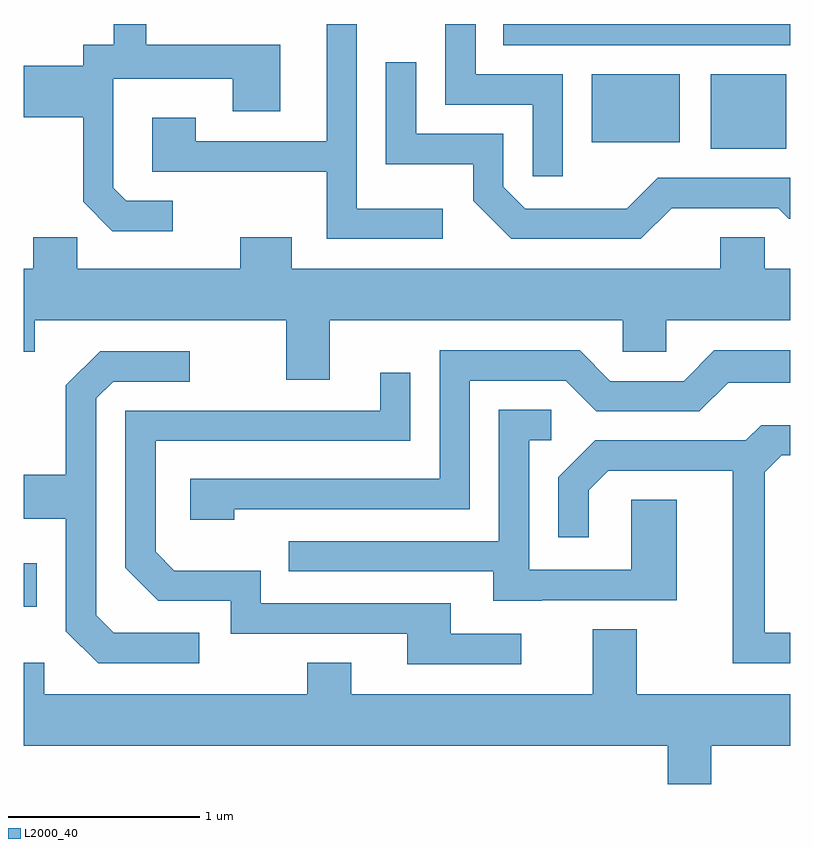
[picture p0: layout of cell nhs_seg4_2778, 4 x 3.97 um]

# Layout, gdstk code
import gdstk
lib = gdstk.Library(unit=1e-6, precision=1e-09)
def R(c, l, rs):  # rectangles x0, y0, x1, y1
    for r in rs: c.add(gdstk.rectangle(r[:2], r[2:], *l))
def P(c, l, *ps):  # polygons
    for p in ps: c.add(gdstk.Polygon(p, *l))
L2000_40 = (2000, 40)

nhs_seg4_2778 = lib.new_cell('nhs_seg4_2778')
R(nhs_seg4_2778, L2000_40, [(265.611,1370.941,265.679,1371.169), (269.196,1373.331,269.589,1373.719), (268.576,1373.366,269.034,1373.719), (268.113,1373.871,269.611,1373.982)])
P(nhs_seg4_2778, L2000_40, [(268.424,1373.719),(267.969,1373.719),(267.969,1373.982),(267.811,1373.982),(267.811,1373.561),(268.266,1373.561),(268.266,1373.188),(268.424,1373.188)],
  [(267.798,1373.019),(267.349,1373.019),(267.349,1373.982),(267.191,1373.982),(267.191,1373.369),(266.509,1373.369),(266.509,1373.494),(266.281,1373.494),(266.281,1373.211),(267.191,1373.211),(267.191,1372.861),(267.798,1372.861)],
  [(266.388,1373.059),(266.147,1373.059),(266.079,1373.127),(266.079,1373.696),(266.701,1373.696),(266.701,1373.526),(266.949,1373.526),(266.949,1373.874),(266.249,1373.874),(266.249,1373.982),(266.081,1373.982),(266.081,1373.874),(265.921,1373.874),(265.921,1373.764),(265.611,1373.764),(265.611,1373.496),(265.921,1373.496),(265.921,1373.054),(266.074,1372.901),(266.388,1372.901)],
  [(268.992,1373.021),(269.549,1373.021),(269.604,1372.966),(269.611,1372.966),(269.611,1373.179),(268.919,1373.179),(268.759,1373.019),(268.227,1373.019),(268.114,1373.132),(268.114,1373.409),(267.659,1373.409),(267.659,1373.783),(267.501,1373.783),(267.501,1373.251),(267.956,1373.251),(267.956,1373.059),(268.154,1372.861),(268.832,1372.861)],
  [(267.209,1372.436),(268.736,1372.436),(268.736,1372.271),(268.964,1372.271),(268.964,1372.436),(269.611,1372.436),(269.611,1372.704),(269.479,1372.704),(269.479,1372.869),(269.246,1372.869),(269.246,1372.704),(267.009,1372.704),(267.009,1372.869),(266.741,1372.869),(266.741,1372.704),(265.889,1372.704),(265.889,1372.869),(265.661,1372.869),(265.661,1372.704),(265.611,1372.704),(265.611,1372.271),(265.669,1372.271),(265.669,1372.436),(266.981,1372.436),(266.981,1372.126),(267.209,1372.126)],
  [(266.709,1371.451),(267.939,1371.451),(267.939,1372.121),(268.439,1372.121),(268.599,1371.961),(269.137,1371.961),(269.287,1372.111),(269.611,1372.111),(269.611,1372.279),(269.214,1372.279),(269.054,1372.119),(268.672,1372.119),(268.512,1372.279),(267.781,1372.279),(267.781,1371.609),(266.481,1371.609),(266.481,1371.396),(266.709,1371.396)],
  [(266.528,1370.804),(266.082,1370.804),(265.989,1370.897),(265.989,1372.029),(266.077,1372.116),(266.478,1372.116),(266.478,1372.274),(266.009,1372.274),(265.831,1372.097),(265.831,1371.629),(265.611,1371.629),(265.611,1371.401),(265.831,1371.401),(265.831,1370.814),(265.999,1370.646),(266.528,1370.646)],
  [(268.208,1370.799),(267.839,1370.799),(267.839,1370.959),(266.849,1370.959),(266.849,1371.129),(266.397,1371.129),(266.299,1371.227),(266.299,1371.806),(267.629,1371.806),(267.629,1372.163),(267.471,1372.163),(267.471,1371.964),(266.141,1371.964),(266.141,1371.144),(266.314,1370.971),(266.691,1370.971),(266.691,1370.801),(267.611,1370.801),(267.611,1370.641),(268.208,1370.641)],
  [(268.315,1370.976),(269.019,1370.976),(269.019,1371.499),(268.781,1371.499),(268.781,1371.134),(268.249,1371.134),(268.249,1371.811),(268.363,1371.811),(268.363,1371.969),(268.091,1371.969),(268.091,1371.284),(266.993,1371.284),(266.993,1371.126),(268.061,1371.126),(268.061,1370.971),(268.315,1370.971)],
  [(269.611,1370.804),(269.479,1370.804),(269.479,1371.644),(269.567,1371.731),(269.611,1371.731),(269.611,1371.889),(269.459,1371.889),(269.379,1371.809),(268.594,1371.809),(268.401,1371.617),(268.401,1371.303),(268.559,1371.303),(268.559,1371.549),(268.662,1371.651),(269.311,1371.651),(269.311,1370.646),(269.611,1370.646)],
  [(269.199,1370.216),(269.611,1370.216),(269.611,1370.484),(268.809,1370.484),(268.809,1370.824),(268.581,1370.824),(268.581,1370.484),(267.319,1370.484),(267.319,1370.649),(267.091,1370.649),(267.091,1370.484),(265.719,1370.484),(265.719,1370.649),(265.611,1370.649),(265.611,1370.216),(268.971,1370.216),(268.971,1370.016),(269.199,1370.016)])

lib.write_gds('nhs_seg4_2778.gds')
